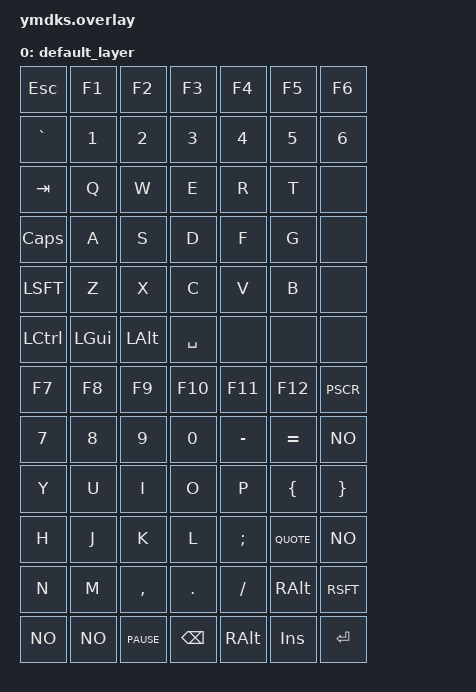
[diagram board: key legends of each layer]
#include <dt-bindings/zmk/matrix_transform.h>
#include <dt-bindings/zmk/keys.h>

/ {
    chosen {
        zmk,kscan = &kscan_split_matrix;
    };

    kscan_split_matrix: kscan_split_matrix {
        compatible = "zmk,kscan-split-matrix";
        rows = <&gpio1 11>, <&gpio1 13>, <&gpio1 15>, <&gpio0 2>, <&gpio0 29>, <&gpio0 19>;
        cols = <&gpio0 8>, <&gpio0 6>, <&gpio0 22>, <&gpio0 24>, <&gpio1 0>, <&gpio0 11>, <&gpio1 4>;
        diode-direction = "row2col";
    };

    kscan_i2c_ext_matrix: kscan_i2c_ext_matrix {
        compatible = "zmk,kscan-i2c-ext-matrix";
        i2c = <&i2c_2>;
        row-gpios = <&mcp23018 0 (GPIO_PULL_UP)>, <&mcp23018 1 (GPIO_PULL_UP)>, <&mcp23018 2 (GPIO_PULL_UP)>, <&mcp23018 3 (GPIO_PULL_UP)>, <&mcp23018 4 (GPIO_PULL_UP)>, <&mcp23018 5 (GPIO_PULL_UP)>;
        col-gpios = <&mcp23018 8>, <&mcp23018 9>, <&mcp23018 10>, <&mcp23018 11>, <&mcp23018 12>, <&mcp23018 13>, <&mcp23018 14>;
    };

    keymap {
        compatible = "zmk,keymap";

        default_layer {
            bindings = <
                // Left half
                &kp ESC &kp F1 &kp F2 &kp F3 &kp F4 &kp F5 &kp F6
                &kp GRAVE &kp N1 &kp N2 &kp N3 &kp N4 &kp N5 &kp N6
                &kp TAB &kp Q &kp W &kp E &kp R &kp T &none
                &kp CAPS &kp A &kp S &kp D &kp F &kp G &none
                &kp LSFT &kp Z &kp X &kp C &kp V &kp B &none
                &kp LCTL &kp LGUI &kp LALT &kp SPACE &none &none &none

                // Right half
                &kp F7 &kp F8 &kp F9 &kp F10 &kp F11 &kp F12 &kp PSCR
                &kp N7 &kp N8 &kp N9 &kp N0 &kp MINUS &kp EQUAL &kp NO
                &kp Y &kp U &kp I &kp O &kp P &kp LBRC &kp RBRC
                &kp H &kp J &kp K &kp L &kp SCLN &kp QUOTE &kp NO
                &kp N &kp M &kp COMMA &kp DOT &kp SLASH &kp RALT &kp RSFT
                &kp NO &kp NO &kp PAUSE &kp BSPC &kp RALT &kp INS &kp ENTER
            >;
        };
    };
};

// Use the default transform to map matrix positions to keymap positions
&kscan_split_matrix {
    matrix-transform = <
        ZMK_MATRIX_TRANSFORM_DEFAULT()
    >;
};
